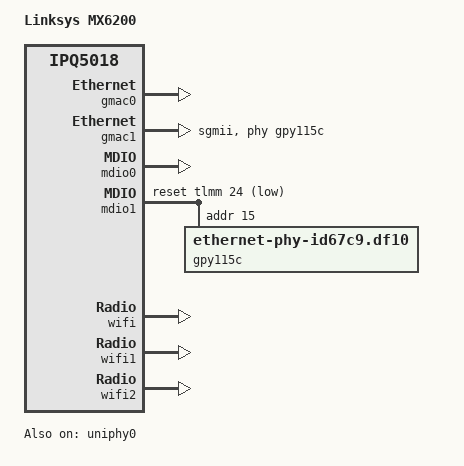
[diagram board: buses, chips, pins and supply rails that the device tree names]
/dts-v1/;

#include "ipq5018.dtsi"
#include "ipq5018-ess.dtsi"
#include "ipq5018-mx-base.dtsi"
#include "ipq5018-qcn6122.dtsi"

/ {
	model = "Linksys MX6200";
	compatible = "linksys,mx6200", "qcom,ipq5018";

	chosen {
		bootargs-append = " root=/dev/ubiblock0_1 coherent_pool=2M";
		stdout-path = "serial0:115200n8";
	};

	reserved-memory {
		q6_region_qcn6122_1: q6-region-qcn6122-1@4d200000 {
			reg = <0x0 0x4d200000 0x0 0xd00000>;
			no-map;
		};

		m3_dump_qcn6122_1: m3-dump-qcn6122-1@4df00000 {
			reg = <0x0 0x4df00000 0x0 0x100000>;
			no-map;
		};

		q6_region_qcn6122_2: q6-region-qcn6122-2@4e600000 {
			reg = <0x0 0x4e600000 0x0 0xd00000>;
			no-map;
		};

		m3_dump_qcn6122_2: m3-dump-qcn6122-2@4f300000 {
			reg = <0x0 0x4f300000 0x0 0x100000>;
			no-map;
		};
	};
};

/*
* =================================================================
*     _______________________             ____________
*    |        IPQ5018        |           |            |
*    | +------+   +--------+ |           | +--------+ |
*    | | MAC0 |---| GE Phy |-+--- MDI ---+ | RJ45   | +
*    | +------+   +--------+ |           | +--------+ |
*    |                       |           |____________|
*    |                       |            _______________________
*    |                       |           |    MXL GPY115C Phy    |
*    | +------+   +--------+ |           | +--------+   +------+ |
*    | | MAC1 |---| Uniphy |-+-- SGMII---+ | Phy    |---| RJ45 | |
*    | +------+   +--------+ |           | +--------+   +------+ |
*    |_______________________|           |_______________________|
*
* =================================================================
 */

&uniphy0 {
	status = "okay";

	assigned-clocks = <&uniphy0 UNIPHY_CLK_REF>;
	assigned-clock-rates = <UNIPHY_REFCLK_50MHZ>;
};

&gmac0 {
	status = "okay";

	label = "lan";

	nvmem-cells = <&hw_mac_addr 1>;
	nvmem-cell-names = "mac-address";
};

// MAC1 ---SGMII---> Maxlinear GPY115C
&gmac1 {
	status = "okay";

	phy-handle = <&gpy115c>;
	phy-mode = "sgmii";
	managed = "in-band-status";

	label = "wan";

	nvmem-cells = <&hw_mac_addr 0>;
	nvmem-cell-names = "mac-address";
};

&mdio0 {
	status = "okay";
};

&mdio1 {
	status = "okay";

	pinctrl-0 = <&mdio1_pins>;
	pinctrl-names = "default";
	reset-gpios = <&tlmm 24 GPIO_ACTIVE_LOW>;

	// Maxlinear Ethernet GPY115C
	gpy115c: ethernet-phy@f {
		compatible = "ethernet-phy-id67c9.df10";
		reg = <0xf>;
	};
};

&wifi {
	status = "okay";

	qcom,rproc = <&q6v5_wcss>;
	qcom,ath11k-calibration-variant = "Linksys-MX6200";
	qcom,ath11k-fw-memory-mode = <1>;
};

&wifi1 {
	status = "okay";

	qcom,rproc = <&q6v5_wcss>;
	qcom,ath11k-calibration-variant = "Linksys-MX6200-5G";
	qcom,ath11k-fw-memory-mode = <1>;

	memory-region = <&q6_region_qcn6122_1>, <&q6_region_ipq5018>, <&m3_dump_qcn6122_1>;
	memory-region-names = "q6-region", "m3-region", "m3-dump";
};

&wifi2 {
	status = "okay";

	qcom,rproc = <&q6v5_wcss>;
	qcom,ath11k-calibration-variant = "Linksys-MX6200-6G";
	qcom,ath11k-fw-memory-mode = <1>;

	memory-region = <&q6_region_qcn6122_2>, <&q6_region_ipq5018>, <&m3_dump_qcn6122_2>;
	memory-region-names = "q6-region", "m3-region", "m3-dump";
};
